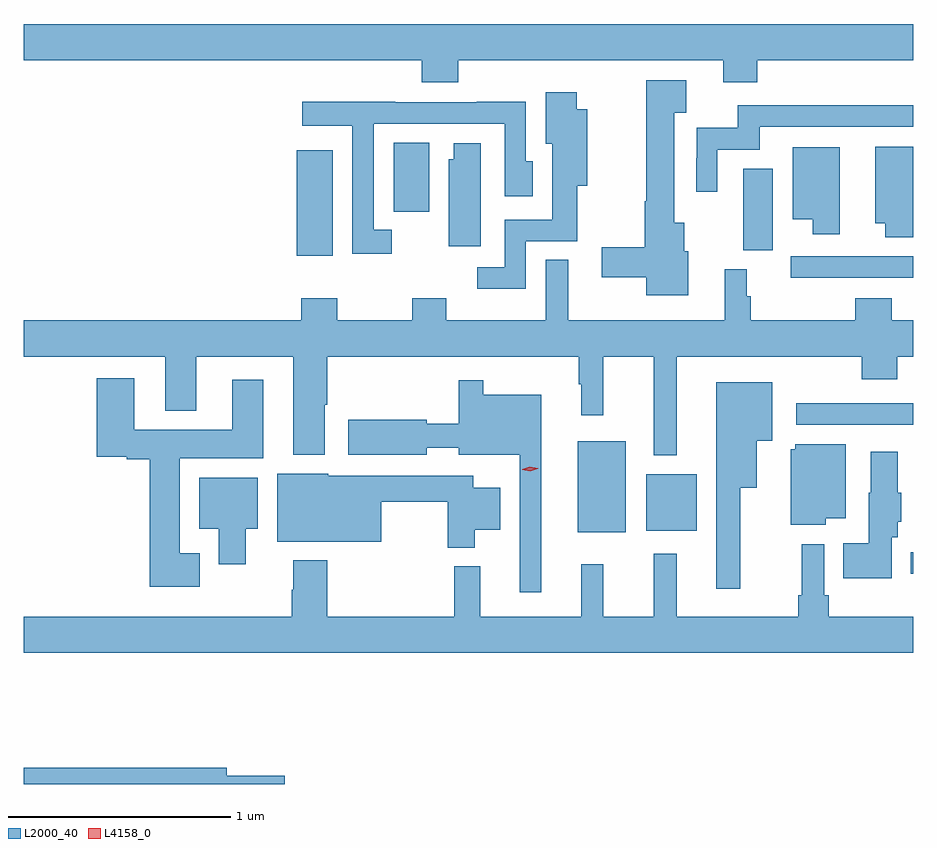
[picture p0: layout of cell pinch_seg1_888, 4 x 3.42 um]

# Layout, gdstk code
import gdstk
lib = gdstk.Library(unit=1e-6, precision=1e-09)
def R(c, l, rs):  # rectangles x0, y0, x1, y1
    for r in rs: c.add(gdstk.rectangle(r[:2], r[2:], *l))
def P(c, l, *ps):  # polygons
    for p in ps: c.add(gdstk.Polygon(p, *l))
L2000_40 = (2000, 40)
L4158_0 = (4158, 0)

pinch_seg1_888 = lib.new_cell('pinch_seg1_888')
R(pinch_seg1_888, L2000_40, [(571.701,524.117,571.712,524.214), (570.203,524.303,570.418,524.713), (570.512,524.309,570.739,524.563), (571.185,524.787,571.712,524.883), (571.161,525.447,571.712,525.543), (568.94,525.546,569.101,526.021), (570.947,525.571,571.081,525.937), (569.375,525.744,569.536,526.055)])
P(pinch_seg1_888, L2000_40, [(569.666,526.424),(570.857,526.424),(570.857,526.325),(571.01,526.325),(571.01,526.424),(571.712,526.424),(571.712,526.588),(567.712,526.588),(567.712,526.424),(569.501,526.424),(569.501,526.325),(569.666,526.325)],
  [(570.7,525.567),(570.682,525.567),(570.682,525.694),(570.637,525.694),(570.637,526.188),(570.691,526.188),(570.691,526.336),(570.512,526.336),(570.512,525.79),(570.505,525.79),(570.505,525.584),(570.312,525.584),(570.312,525.449),(570.512,525.449),(570.512,525.368),(570.7,525.368)],
  [(569.97,525.612),(570.2,525.612),(570.2,525.86),(570.247,525.86),(570.247,526.204),(570.198,526.204),(570.198,526.282),(570.059,526.282),(570.059,526.049),(570.089,526.049),(570.089,525.708),(569.874,525.708),(569.874,525.495),(569.751,525.495),(569.751,525.398),(569.97,525.398)],
  [(569.368,525.663),(569.286,525.663),(569.286,526.14),(569.874,526.14),(569.874,525.813),(570.001,525.813),(570.001,525.972),(569.97,525.972),(569.97,526.238),(569.749,526.238),(569.749,526.236),(569.383,526.236),(569.383,526.238),(568.965,526.238),(568.965,526.13),(569.19,526.13),(569.19,525.555),(569.368,525.555)],
  [(570.831,526.022),(571.021,526.022),(571.021,526.125),(571.712,526.125),(571.712,526.223),(570.922,526.223),(570.922,526.122),(570.738,526.122),(570.738,525.984),(570.735,525.984),(570.735,525.834),(570.831,525.834)],
  [(569.767,526.051),(569.645,526.051),(569.645,525.981),(569.624,525.981),(569.624,525.588),(569.767,525.588)],
  [(571.712,526.036),(571.541,526.036),(571.541,525.692),(571.586,525.692),(571.586,525.63),(571.712,525.63)],
  [(571.381,526.033),(571.169,526.033),(571.169,525.71),(571.259,525.71),(571.259,525.642),(571.381,525.642)],
  [(569.458,525.355),(569.458,525.256),(569.121,525.256),(569.121,525.355),(568.961,525.355),(568.961,525.256),(567.712,525.256),(567.712,525.092),(568.349,525.092),(568.349,524.849),(568.489,524.849),(568.489,525.092),(568.925,525.092),(568.925,524.651),(569.065,524.651),(569.065,524.877),(569.078,524.877),(569.078,525.092),(570.207,525.092),(570.207,524.969),(570.218,524.969),(570.218,524.829),(570.318,524.829),(570.318,525.092),(570.545,525.092),(570.545,524.648),(570.649,524.648),(570.649,525.092),(571.48,525.092),(571.48,524.99),(571.64,524.99),(571.64,525.092),(571.712,525.092),(571.712,525.256),(571.616,525.256),(571.616,525.355),(571.451,525.355),(571.451,525.256),(570.98,525.256),(570.98,525.365),(570.962,525.365),(570.962,525.486),(570.863,525.486),(570.863,525.256),(570.16,525.256),(570.16,525.527),(570.059,525.527),(570.059,525.256),(569.613,525.256),(569.613,525.355)],
  [(568.504,524.209),(568.414,524.209),(568.414,524.636),(568.789,524.636),(568.789,524.989),(568.649,524.989),(568.649,524.764),(568.21,524.764),(568.21,524.995),(568.04,524.995),(568.04,524.642),(568.176,524.642),(568.176,524.63),(568.28,524.63),(568.28,524.057),(568.504,524.057)],
  [(570.04,524.92),(569.779,524.92),(569.779,524.986),(569.669,524.986),(569.669,524.791),(569.524,524.791),(569.524,524.809),(569.172,524.809),(569.172,524.651),(569.524,524.651),(569.524,524.682),(569.669,524.682),(569.669,524.651),(569.943,524.651),(569.943,524.034),(570.04,524.034)],
  [(570.934,524.504),(571.009,524.504),(571.009,524.714),(571.078,524.714),(571.078,524.977),(570.827,524.977),(570.827,524.049),(570.934,524.049)],
  [(571.318,524.366),(571.408,524.366),(571.408,524.698),(571.182,524.698),(571.182,524.676),(571.16,524.676),(571.16,524.336),(571.318,524.336)],
  [(571.615,524.28),(571.642,524.28),(571.642,524.349),(571.657,524.349),(571.657,524.481),(571.642,524.481),(571.642,524.665),(571.52,524.665),(571.52,524.481),(571.511,524.481),(571.511,524.254),(571.396,524.254),(571.396,524.096),(571.615,524.096)],
  [(569.74,524.315),(569.854,524.315),(569.854,524.503),(569.734,524.503),(569.734,524.556),(569.082,524.556),(569.082,524.566),(568.853,524.566),(568.853,524.261),(569.32,524.261),(569.32,524.44),(569.618,524.44),(569.618,524.234),(569.74,524.234)],
  [(568.711,524.318),(568.765,524.318),(568.765,524.548),(568.502,524.548),(568.502,524.318),(568.589,524.318),(568.589,524.16),(568.711,524.16)],
  [(571.712,523.924),(571.331,523.924),(571.331,524.02),(571.311,524.02),(571.311,524.248),(571.21,524.248),(571.21,524.02),(571.195,524.02),(571.195,523.924),(570.649,523.924),(570.649,524.206),(570.545,524.206),(570.545,523.924),(570.318,523.924),(570.318,524.158),(570.218,524.158),(570.218,523.924),(569.765,523.924),(569.765,524.149),(569.647,524.149),(569.647,523.924),(569.078,523.924),(569.078,524.176),(568.925,524.176),(568.925,524.045),(568.918,524.045),(568.918,523.924),(567.712,523.924),(567.712,523.76),(571.712,523.76)],
  [(568.885,523.208),(568.624,523.208),(568.624,523.244),(567.712,523.244),(567.712,523.171),(568.885,523.171)])
P(pinch_seg1_888, L4158_0, [(569.99,524.577),(569.954,524.585),(569.953,524.585),(569.954,524.586),(569.988,524.597),(570.024,524.59),(570.025,524.59),(570.024,524.589)])

lib.write_gds('pinch_seg1_888.gds')
